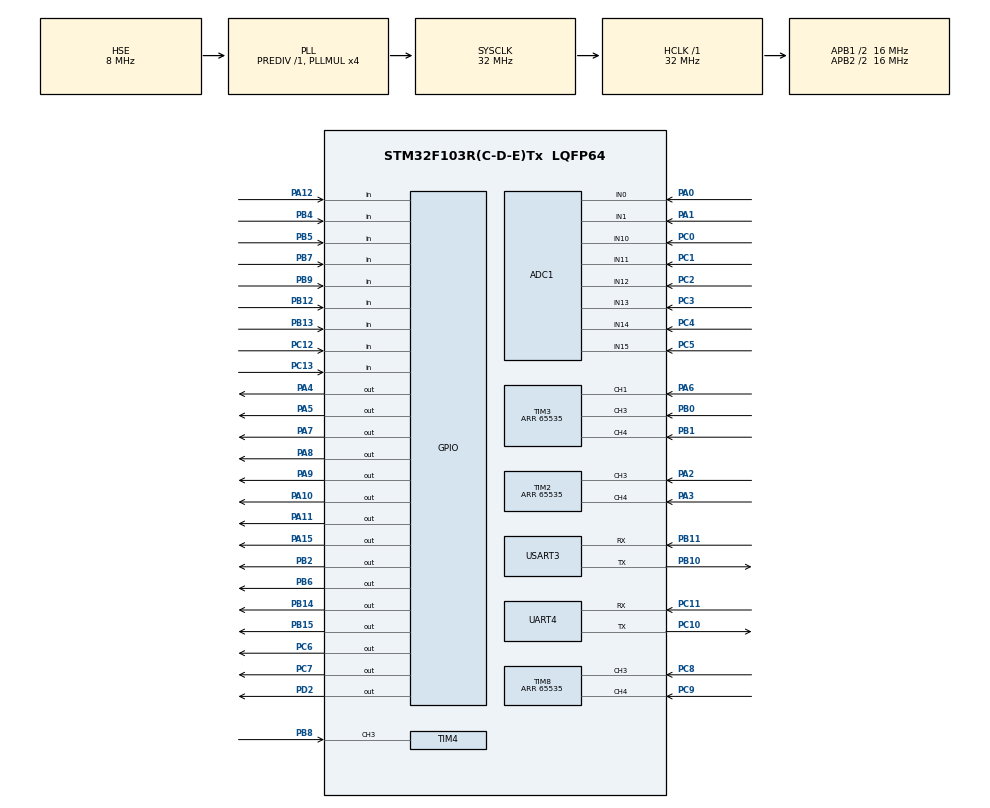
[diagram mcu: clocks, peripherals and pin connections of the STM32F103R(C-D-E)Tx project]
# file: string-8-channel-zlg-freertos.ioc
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ADC1.Channel-19\#ChannelRegularConversion=ADC_CHANNEL_10
ADC1.Channel-20\#ChannelRegularConversion=ADC_CHANNEL_11
ADC1.Channel-21\#ChannelRegularConversion=ADC_CHANNEL_12
ADC1.Channel-22\#ChannelRegularConversion=ADC_CHANNEL_13
ADC1.Channel-23\#ChannelRegularConversion=ADC_CHANNEL_0
ADC1.Channel-24\#ChannelRegularConversion=ADC_CHANNEL_1
ADC1.Channel-25\#ChannelRegularConversion=ADC_CHANNEL_14
ADC1.Channel-26\#ChannelRegularConversion=ADC_CHANNEL_15
ADC1.Channel-IN1=ADC_CHANNEL_1
ADC1.Channel-IN10=ADC_CHANNEL_10
ADC1.Channel-IN11=ADC_CHANNEL_11
ADC1.Channel-IN12=ADC_CHANNEL_12
ADC1.Channel-IN13=ADC_CHANNEL_13
ADC1.ContinuousConvMode=DISABLE
ADC1.DataAlign=ADC_DATAALIGN_RIGHT
ADC1.DiscontinuousConvMode=ENABLE
ADC1.EnableAnalogWatchDog=false
ADC1.EnableRegularConversion=ENABLE
ADC1.ExternalTrigConv=ADC_SOFTWARE_START
ADC1.InjNumberOfConversion=0
ADC1.NbrOfConversion=8
ADC1.NbrOfConversionFlag=1
ADC1.NbrOfDiscConversion=1
ADC1.Rank-19\#ChannelRegularConversion=1
ADC1.Rank-20\#ChannelRegularConversion=2
ADC1.Rank-21\#ChannelRegularConversion=3
ADC1.Rank-22\#ChannelRegularConversion=4
ADC1.Rank-23\#ChannelRegularConversion=5
ADC1.Rank-24\#ChannelRegularConversion=6
ADC1.Rank-25\#ChannelRegularConversion=7
ADC1.Rank-26\#ChannelRegularConversion=8
ADC1.SamplingTime-19\#ChannelRegularConversion=ADC_SAMPLETIME_1CYCLE_5
ADC1.SamplingTime-20\#ChannelRegularConversion=ADC_SAMPLETIME_1CYCLE_5
ADC1.SamplingTime-21\#ChannelRegularConversion=ADC_SAMPLETIME_1CYCLE_5
ADC1.SamplingTime-22\#ChannelRegularConversion=ADC_SAMPLETIME_1CYCLE_5
ADC1.SamplingTime-23\#ChannelRegularConversion=ADC_SAMPLETIME_1CYCLE_5
ADC1.SamplingTime-24\#ChannelRegularConversion=ADC_SAMPLETIME_1CYCLE_5
ADC1.SamplingTime-25\#ChannelRegularConversion=ADC_SAMPLETIME_1CYCLE_5
ADC1.SamplingTime-26\#ChannelRegularConversion=ADC_SAMPLETIME_1CYCLE_5
ADC1.ScanConvMode=ADC_SCAN_ENABLE
ADC1.master=1
Dma.Request0=TIM8_CH3/UP
Dma.Request1=TIM8_CH4/TRIG/COM
Dma.Request2=TIM4_CH3
Dma.Request3=TIM3_CH1/TRIG
Dma.Request4=TIM3_CH3
Dma.Request5=TIM3_CH4/UP
Dma.Request6=TIM2_CH3
Dma.Request7=TIM2_CH2/CH4
Dma.TIM2_CH2/CH4.7.Direction=DMA_PERIPH_TO_MEMORY
Dma.TIM2_CH2/CH4.7.Instance=DMA1_Channel7
Dma.TIM2_CH2/CH4.7.MemDataAlignment=DMA_MDATAALIGN_HALFWORD
Dma.TIM2_CH2/CH4.7.MemInc=DMA_MINC_ENABLE
Dma.TIM2_CH2/CH4.7.Mode=DMA_NORMAL
Dma.TIM2_CH2/CH4.7.PeriphDataAlignment=DMA_PDATAALIGN_HALFWORD
Dma.TIM2_CH2/CH4.7.PeriphInc=DMA_PINC_DISABLE
Dma.TIM2_CH2/CH4.7.Priority=DMA_PRIORITY_LOW
Dma.TIM2_CH3.6.Direction=DMA_PERIPH_TO_MEMORY
Dma.TIM2_CH3.6.Instance=DMA1_Channel1
Dma.TIM2_CH3.6.MemDataAlignment=DMA_MDATAALIGN_HALFWORD
Dma.TIM2_CH3.6.MemInc=DMA_MINC_ENABLE
Dma.TIM2_CH3.6.Mode=DMA_NORMAL
Dma.TIM2_CH3.6.PeriphDataAlignment=DMA_PDATAALIGN_HALFWORD
Dma.TIM2_CH3.6.PeriphInc=DMA_PINC_DISABLE
Dma.TIM2_CH3.6.Priority=DMA_PRIORITY_LOW
Dma.TIM3_CH1/TRIG.3.Direction=DMA_PERIPH_TO_MEMORY
Dma.TIM3_CH1/TRIG.3.Instance=DMA1_Channel6
Dma.TIM3_CH1/TRIG.3.MemDataAlignment=DMA_MDATAALIGN_HALFWORD
Dma.TIM3_CH1/TRIG.3.MemInc=DMA_MINC_ENABLE
Dma.TIM3_CH1/TRIG.3.Mode=DMA_NORMAL
Dma.TIM3_CH1/TRIG.3.PeriphDataAlignment=DMA_PDATAALIGN_HALFWORD
Dma.TIM3_CH1/TRIG.3.PeriphInc=DMA_PINC_DISABLE
Dma.TIM3_CH1/TRIG.3.Priority=DMA_PRIORITY_LOW
Dma.TIM3_CH3.4.Direction=DMA_PERIPH_TO_MEMORY
Dma.TIM3_CH3.4.Instance=DMA1_Channel2
Dma.TIM3_CH3.4.MemDataAlignment=DMA_MDATAALIGN_HALFWORD
Dma.TIM3_CH3.4.MemInc=DMA_MINC_ENABLE
Dma.TIM3_CH3.4.Mode=DMA_NORMAL
Dma.TIM3_CH3.4.PeriphDataAlignment=DMA_PDATAALIGN_HALFWORD
Dma.TIM3_CH3.4.PeriphInc=DMA_PINC_DISABLE
Dma.TIM3_CH3.4.Priority=DMA_PRIORITY_LOW
Dma.TIM3_CH4/UP.5.Direction=DMA_PERIPH_TO_MEMORY
Dma.TIM3_CH4/UP.5.Instance=DMA1_Channel3
Dma.TIM3_CH4/UP.5.MemDataAlignment=DMA_MDATAALIGN_HALFWORD
Dma.TIM3_CH4/UP.5.MemInc=DMA_MINC_ENABLE
Dma.TIM3_CH4/UP.5.Mode=DMA_NORMAL
Dma.TIM3_CH4/UP.5.PeriphDataAlignment=DMA_PDATAALIGN_HALFWORD
Dma.TIM3_CH4/UP.5.PeriphInc=DMA_PINC_DISABLE
Dma.TIM3_CH4/UP.5.Priority=DMA_PRIORITY_LOW
Dma.TIM4_CH3.2.Direction=DMA_PERIPH_TO_MEMORY
Dma.TIM4_CH3.2.Instance=DMA1_Channel5
Dma.TIM4_CH3.2.MemDataAlignment=DMA_MDATAALIGN_HALFWORD
Dma.TIM4_CH3.2.MemInc=DMA_MINC_ENABLE
Dma.TIM4_CH3.2.Mode=DMA_NORMAL
Dma.TIM4_CH3.2.PeriphDataAlignment=DMA_PDATAALIGN_HALFWORD
Dma.TIM4_CH3.2.PeriphInc=DMA_PINC_DISABLE
Dma.TIM4_CH3.2.Priority=DMA_PRIORITY_LOW
Dma.TIM8_CH3/UP.0.Direction=DMA_PERIPH_TO_MEMORY
Dma.TIM8_CH3/UP.0.Instance=DMA2_Channel1
Dma.TIM8_CH3/UP.0.MemDataAlignment=DMA_MDATAALIGN_HALFWORD
Dma.TIM8_CH3/UP.0.MemInc=DMA_MINC_ENABLE
Dma.TIM8_CH3/UP.0.Mode=DMA_NORMAL
Dma.TIM8_CH3/UP.0.PeriphDataAlignment=DMA_PDATAALIGN_HALFWORD
Dma.TIM8_CH3/UP.0.PeriphInc=DMA_PINC_DISABLE
Dma.TIM8_CH3/UP.0.Priority=DMA_PRIORITY_LOW
Dma.TIM8_CH4/TRIG/COM.1.Direction=DMA_PERIPH_TO_MEMORY
Dma.TIM8_CH4/TRIG/COM.1.Instance=DMA2_Channel2
Dma.TIM8_CH4/TRIG/COM.1.MemDataAlignment=DMA_MDATAALIGN_HALFWORD
Dma.TIM8_CH4/TRIG/COM.1.MemInc=DMA_MINC_ENABLE
Dma.TIM8_CH4/TRIG/COM.1.Mode=DMA_NORMAL
Dma.TIM8_CH4/TRIG/COM.1.PeriphDataAlignment=DMA_PDATAALIGN_HALFWORD
Dma.TIM8_CH4/TRIG/COM.1.PeriphInc=DMA_PINC_DISABLE
Dma.TIM8_CH4/TRIG/COM.1.Priority=DMA_PRIORITY_LOW
FREERTOS.BinarySemaphores01=BinarySem_capture,Dynamic,NULL;BinarySem_zlg,Dynamic,NULL;BinarySem_485,Dynamic,NULL;BinarySem_bat,Dynamic,NULL;BinarySem_stimulate,Dynamic,NULL
FREERTOS.Tasks01=TASK_BAT,0,128,FUNC_BAT,Default,NULL,Dynamic,NULL,NULL;TASK_ZLG,2,128,FUNC_ZLG,Default,NULL,Dynamic,NULL,NULL;TASK_CAPTURE,-2,128,FUNC_CAPTURE,Default,NULL,Dynamic,NULL,NULL;TASK_485,2,128,FUNC_485,Default,NULL,Dynamic,NULL,NULL;TASK_STIMULATE,1,128,FUNC_STIMULATE,Default,NULL,Dynamic,NULL,NULL
FREERTOS.Timers01=TimerCapture,Callback_timercapture,osTimerPeriodic,Default,NULL,Dynamic,NULL
FREERTOS.configMINIMAL_STACK_SIZE=64
FREERTOS.configTOTAL_HEAP_SIZE=8096
FREERTOS.configUSE_COUNTING_SEMAPHORES=1
FREERTOS.configUSE_TIMERS=1
Mcu.Family=STM32F1
Mcu.Name=STM32F103R(C-D-E)Tx
Mcu.Package=LQFP64
NVIC.DMA1_Channel1_IRQn=true\:4\:0\:true\:false\:true\:false
NVIC.DMA1_Channel2_IRQn=true\:4\:0\:true\:false\:true\:false
NVIC.DMA1_Channel3_IRQn=true\:4\:0\:true\:false\:true\:false
NVIC.DMA1_Channel5_IRQn=true\:4\:0\:true\:false\:true\:false
NVIC.DMA1_Channel6_IRQn=true\:4\:0\:true\:false\:true\:false
NVIC.DMA1_Channel7_IRQn=true\:4\:0\:true\:false\:true\:false
NVIC.DMA2_Channel1_IRQn=true\:4\:0\:true\:false\:true\:false
NVIC.DMA2_Channel2_IRQn=true\:4\:0\:true\:false\:true\:false
NVIC.PriorityGroup=NVIC_PRIORITYGROUP_4
NVIC.TIM5_IRQn=true\:0\:0\:false\:false\:true\:false
NVIC.TimeBase=TIM5_IRQn
NVIC.TimeBaseIP=TIM5
NVIC.UART4_IRQn=true\:5\:0\:false\:false\:true\:true
NVIC.USART3_IRQn=true\:5\:0\:false\:false\:true\:true
PA0-WKUP.Signal=ADCx_IN0
PA1.Signal=ADCx_IN1
PA10.PinState=GPIO_PIN_SET
PA10.Signal=GPIO_Output
PA11.Signal=GPIO_Output
PA12.Signal=GPIO_Input
PA13.Mode=Serial_Wire
PA13.Signal=SYS_JTMS-SWDIO
PA14.Mode=Serial_Wire
PA14.Signal=SYS_JTCK-SWCLK
PA15.Signal=GPIO_Output
PA2.Signal=S_TIM2_CH3
PA3.Signal=S_TIM2_CH4
PA4.Signal=GPIO_Output
PA5.PinState=GPIO_PIN_SET
PA5.Signal=GPIO_Output
PA6.Signal=S_TIM3_CH1
PA7.Signal=GPIO_Output
PA8.Signal=GPIO_Output
PA9.PinState=GPIO_PIN_SET
PA9.Signal=GPIO_Output
PB0.Signal=S_TIM3_CH3
PB1.Signal=S_TIM3_CH4
PB10.Mode=Asynchronous
PB10.Signal=USART3_TX
PB11.Mode=Asynchronous
PB11.Signal=USART3_RX
PB12.Signal=GPIO_Input
PB13.Signal=GPIO_Input
PB14.Signal=GPIO_Output
PB15.Signal=GPIO_Output
PB2.PinState=GPIO_PIN_SET
PB2.Signal=GPIO_Output
PB4.Signal=GPIO_Input
PB5.Signal=GPIO_Input
PB6.Signal=GPIO_Output
PB7.Signal=GPIO_Input
PB8.Signal=S_TIM4_CH3
PB9.Signal=GPIO_Input
PC0.Signal=ADCx_IN10
PC1.Signal=ADCx_IN11
PC10.Mode=Asynchronous
PC10.Signal=UART4_TX
PC11.Mode=Asynchronous
PC11.Signal=UART4_RX
PC12.Signal=GPIO_Input
PC13-TAMPER-RTC.Signal=GPIO_Input
PC14-OSC32_IN.Mode=LSE-External-Oscillator
PC14-OSC32_IN.Signal=RCC_OSC32_IN
PC15-OSC32_OUT.Mode=LSE-External-Oscillator
PC15-OSC32_OUT.Signal=RCC_OSC32_OUT
PC2.Signal=ADCx_IN12
PC3.Signal=ADCx_IN13
PC4.Signal=ADCx_IN14
PC5.Signal=ADCx_IN15
PC6.Signal=GPIO_Output
PC7.Signal=GPIO_Output
PC8.Signal=S_TIM8_CH3
PC9.Signal=S_TIM8_CH4
PD0-OSC_IN.Mode=HSE-External-Oscillator
PD0-OSC_IN.Signal=RCC_OSC_IN
PD1-OSC_OUT.Mode=HSE-External-Oscillator
PD1-OSC_OUT.Signal=RCC_OSC_OUT
PD2.Signal=GPIO_Output
ProjectManager.HeapSize=0x200
ProjectManager.StackSize=0x400
ProjectManager.TargetToolchain=MDK-ARM V5
RCC.AHBFreq_Value=32000000
RCC.APB1CLKDivider=RCC_HCLK_DIV2
RCC.APB1Freq_Value=16000000
RCC.APB1TimFreq_Value=32000000
RCC.APB2CLKDivider=RCC_HCLK_DIV2
RCC.APB2Freq_Value=16000000
RCC.APB2TimFreq_Value=32000000
RCC.HCLKFreq_Value=32000000
RCC.PLLMUL=RCC_PLL_MUL4
RCC.PLLSourceVirtual=RCC_PLLSOURCE_HSE
RCC.SYSCLKFreq_VALUE=32000000
RCC.SYSCLKSource=RCC_SYSCLKSOURCE_PLLCLK
RCC.USBFreq_Value=32000000
SH.ADCx_IN0.0=ADC1_IN0,IN0
SH.ADCx_IN1.0=ADC1_IN1,IN1
SH.ADCx_IN10.0=ADC1_IN10,IN10
SH.ADCx_IN11.0=ADC1_IN11,IN11
SH.ADCx_IN12.0=ADC1_IN12,IN12
SH.ADCx_IN13.0=ADC1_IN13,IN13
SH.ADCx_IN14.0=ADC1_IN14,IN14
SH.ADCx_IN15.0=ADC1_IN15,IN15
SH.S_TIM2_CH3.0=TIM2_CH3,Input_Capture3_from_TI3
SH.S_TIM2_CH4.0=TIM2_CH4,Input_Capture4_from_TI4
SH.S_TIM3_CH1.0=TIM3_CH1,Input_Capture1_from_TI1
SH.S_TIM3_CH3.0=TIM3_CH3,Input_Capture3_from_TI3
SH.S_TIM3_CH4.0=TIM3_CH4,Input_Capture4_from_TI4
SH.S_TIM4_CH3.0=TIM4_CH3,Input_Capture3_from_TI3
SH.S_TIM8_CH3.0=TIM8_CH3,Input_Capture3_from_TI3
SH.S_TIM8_CH4.0=TIM8_CH4,Input_Capture4_from_TI4
TIM2.Channel-Input_Capture3_from_TI3=TIM_CHANNEL_3
TIM2.Channel-Input_Capture4_from_TI4=TIM_CHANNEL_4
TIM2.Period=65535
TIM3.Channel-Input_Capture1_from_TI1=TIM_CHANNEL_1
TIM3.Channel-Input_Capture3_from_TI3=TIM_CHANNEL_3
TIM3.Channel-Input_Capture4_from_TI4=TIM_CHANNEL_4
TIM3.Period=65535
TIM4.Channel-Input_Capture3_from_TI3=TIM_CHANNEL_3
TIM4.Period=65535
TIM8.Channel-Input_Capture3_from_TI3=TIM_CHANNEL_3
TIM8.Channel-Input_Capture4_from_TI4=TIM_CHANNEL_4
TIM8.Period=65535
UART4.VirtualMode=Asynchronous
USART3.VirtualMode=VM_ASYNC
VP_FREERTOS_VS_ENABLE.Mode=Enabled
VP_SYS_VS_tim5.Mode=TIM5
board=string-8-channel-zlg-freertos

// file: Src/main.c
/**
  ******************************************************************************
  * File Name          : main.c
  * Description        : Main program body
  ******************************************************************************
  * This notice applies to any and all portions of this file
  * that are not between comment pairs USER CODE BEGIN and
  * USER CODE END. Other portions of this file, whether
  * inserted by the user or by software development tools
  * are owned by their respective copyright owners.
  *
  * Copyright (c) 2018 STMicroelectronics International N.V.
  * All rights reserved.
  *
  * Redistribution and use in source and binary forms, with or without
  * modification, are permitted, provided that the following conditions are met:
  *
  * 1. Redistribution of source code must retain the above copyright notice,
  *    this list of conditions and the following disclaimer.
  * 2. Redistributions in binary form must reproduce the above copyright notice,
  *    this list of conditions and the following disclaimer in the documentation
  *    and/or other materials provided with the distribution.
  * 3. Neither the name of STMicroelectronics nor the names of other
  *    contributors to this software may be used to endorse or promote products
  *    derived from this software without specific written permission.
  * 4. This software, including modifications and/or derivative works of this
  *    software, must execute solely and exclusively on microcontroller or
  *    microprocessor devices manufactured by or for STMicroelectronics.
  * 5. Redistribution and use of this software other than as permitted under
  *    this license is void and will automatically terminate your rights under
  *    this license.
  *
  * THIS SOFTWARE IS PROVIDED BY STMICROELECTRONICS AND CONTRIBUTORS "AS IS"
  * AND ANY EXPRESS, IMPLIED OR STATUTORY WARRANTIES, INCLUDING, BUT NOT
  * LIMITED TO, THE IMPLIED WARRANTIES OF MERCHANTABILITY, FITNESS FOR A
  * PARTICULAR PURPOSE AND NON-INFRINGEMENT OF THIRD PARTY INTELLECTUAL PROPERTY
  * RIGHTS ARE DISCLAIMED TO THE FULLEST EXTENT PERMITTED BY LAW. IN NO EVENT
  * SHALL STMICROELECTRONICS OR CONTRIBUTORS BE LIABLE FOR ANY DIRECT, INDIRECT,
  * INCIDENTAL, SPECIAL, EXEMPLARY, OR CONSEQUENTIAL DAMAGES (INCLUDING, BUT NOT
  * LIMITED TO, PROCUREMENT OF SUBSTITUTE GOODS OR SERVICES; LOSS OF USE, DATA,
  * OR PROFITS; OR BUSINESS INTERRUPTION) HOWEVER CAUSED AND ON ANY THEORY OF
  * LIABILITY, WHETHER IN CONTRACT, STRICT LIABILITY, OR TORT (INCLUDING
  * NEGLIGENCE OR OTHERWISE) ARISING IN ANY WAY OUT OF THE USE OF THIS SOFTWARE,
  * EVEN IF ADVISED OF THE POSSIBILITY OF SUCH DAMAGE.
  *
  ******************************************************************************
  */
#include "main.h"
#include "stm32f1xx_hal.h"
#include "cmsis_os.h"

/* USER CODE BEGIN Includes */
#include <math.h>
#include <string.h>
#include "CW201x.h"
/* USER CODE END Includes */

ADC_HandleTypeDef hadc1;

TIM_HandleTypeDef htim2;
TIM_HandleTypeDef htim3;
TIM_HandleTypeDef htim4;
TIM_HandleTypeDef htim8;
DMA_HandleTypeDef hdma_tim2_ch3;
DMA_HandleTypeDef hdma_tim2_ch2_ch4;
DMA_HandleTypeDef hdma_tim3_ch1_trig;
DMA_HandleTypeDef hdma_tim3_ch3;
DMA_HandleTypeDef hdma_tim3_ch4_up;
DMA_HandleTypeDef hdma_tim4_ch3;
DMA_HandleTypeDef hdma_tim8_ch3_up;
DMA_HandleTypeDef hdma_tim8_ch4_trig_com;

UART_HandleTypeDef huart4;
UART_HandleTypeDef huart3;

osThreadId TASK_BATHandle;
osThreadId TASK_ZLGHandle;
osThreadId TASK_CAPTUREHandle;
osThreadId TASK_485Handle;
osThreadId TASK_STIMULATEHandle;
osTimerId TimerCaptureHandle;
osSemaphoreId BinarySem_captureHandle;
osSemaphoreId BinarySem_zlgHandle;
osSemaphoreId BinarySem_485Handle;
osSemaphoreId BinarySem_batHandle;
osSemaphoreId BinarySem_stimulateHandle;

/* USER CODE BEGIN PV */
/* Private variables ---------------------------------------------------------*/
#define TIMER_INTERVAL 200
#define FLASH_START_ADDR  0X08070000
/*********************** BATTERY *************************/
extern STRUCT_CW_BATTERY   cw_bat;
int bat_count = 0;
int bat_interval = 20;

#define GPIO_BAT                      GPIOA
#define GPIO_PIN_BAT1                 GPIO_PIN_10
#define GPIO_PIN_BAT2                 GPIO_PIN_9

/****************** CAPRURE FREQUENCY ********************/
#define GPIO_SWITCH                   GPIOA
#define GPIO_PIN_SWITCH               GPIO_PIN_4

uint16_t input_capture[8][50];
float avrg_freq[8];
int dma_size = 17;
int capture_count = 0;
int capture_interval = 3;

GPIO_TypeDef* STRING_GPIO[8] = {
	GPIOC,
	GPIOC,
	GPIOA,
	GPIOA,
  GPIOA,
  GPIOA,
	GPIOB,
	GPIOB};

uint16_t STRING_PIN[8] = {
	GPIO_PIN_6,
  GPIO_PIN_7,
	GPIO_PIN_15,
	GPIO_PIN_7,
	GPIO_PIN_8,
	GPIO_PIN_11,
	GPIO_PIN_14,
	GPIO_PIN_15};

uint32_t TIM_CHANNEL[8] = {
	TIM_CHANNEL_3,
	TIM_CHANNEL_4,
	TIM_CHANNEL_3,
	TIM_CHANNEL_4,
	TIM_CHANNEL_3,
	TIM_CHANNEL_1,
	TIM_CHANNEL_4,
  TIM_CHANNEL_3};

TIM_HandleTypeDef *htim[8];

/************************* ADC ***************************/

float adcbuf[8] = {0};
float	A = 0.0014051f;
float B = 0.0002369f;
float C = 0.0000001019f;

/************************* ADDR ***************************/

uint8_t board_num1;
uint8_t board_num2;

GPIO_TypeDef* ADDR_GPIO[8] = {
	GPIOB,
	GPIOB,
  GPIOB,
  GPIOB,
	GPIOB,
	GPIOC,
	GPIOA,
	GPIOC};

uint16_t ADDR_PIN[8] = {
	GPIO_PIN_4,
  GPIO_PIN_5,
	GPIO_PIN_13,
	GPIO_PIN_12,
	GPIO_PIN_9,
	GPIO_PIN_13,
	GPIO_PIN_12,
  GPIO_PIN_12};

/********************** ANALYSIS **************************/

uint8_t data_buf[46] = {
	'S',
	0,0,//ID high, ID low
	0,0,0,0,0, //CH1 freq high, freq low, temp high, temp low
	1,0,0,0,0, //CH2
	2,0,0,0,0, //CH3
	3,0,0,0,0, //CH4
	4,0,0,0,0, //CH5
	5,0,0,0,0, //CH6
	6,0,0,0,0, //CH7
	7,0,0,0,0, //CH8
	0,0,       //bat high, bat low
  'E'};

uint8_t reply_buf[46] = {
	'S',
	0,0,//ID
	0,0,0,0,
	0,0,0,0,
	0,0,0,0,
	0,0,0,0,
	0,0,0,0,
	0,0,0,0,
	0,0,0,0,
	0,0,0,0,
	0,0,0,0,
	0,0,
	0xff,
	0xff,
	0x00,
	0xff,
  'A'};

uint8_t order_buf[35];

typedef enum
{
	DEVICE_RUN,
	DEVICE_SLEEP
}Device_StateTypeDef;

Device_StateTypeDef Device_State = DEVICE_RUN;

/************************* UART ***************************/

uint8_t data_zlg;
uint8_t len_zlg;
uint8_t rxbuf_zlg[100];

uint8_t data_485;
uint8_t len_485 = 1;
uint8_t rxbuf_485[100];

/*********************** ZLG 5168 *************************/

uint8_t channel = 11;
uint8_t addr1_coord = 0x80;
uint8_t addr2_coord = 0x00;

enum{
	GET_INFO = 0,
	SET_INFO,
	RESET_ZLG,
	WAITFORCMD,
	SLEEP,
};
uint8_t ZLGSTATE = GET_INFO;

uint8_t cmd_cfg_get[5] = {0xAB,0xBC,0xCD,0xD1,0x05};
struct struct_recv
{
	uint8_t cmd[4];
	uint8_t dev_info[65];
	uint8_t status[5];
};
union union_recv
{
	uint8_t recv_buf[74];
	struct struct_recv recv_analy;
}ack_cfg_get;

struct struct_send
{
	uint8_t cmd[4];
	uint8_t local_addr[2];
	uint8_t dev_info[65];
	uint8_t veri;
};
union union_send
{
	uint8_t send_buf[72];
	struct struct_send send_set;
}cmd_cfg_set;
uint8_t ack_cfg_set[7];

uint8_t cmd_reset[9];

uint8_t cmd_sleep[5] = {0xDE, 0xDF, 0xEF, 0xD8, 0x01};

/* USER CODE END PV */

void SystemClock_Config(void);
static void MX_GPIO_Init(void);
static void MX_DMA_Init(void);
static void MX_ADC1_Init(void);
static void MX_TIM2_Init(void);
static void MX_TIM3_Init(void);
static void MX_TIM4_Init(void);
static void MX_UART4_Init(void);
static void MX_USART3_UART_Init(void);
static void MX_TIM8_Init(void);
void FUNC_BAT(void const * argument);
void FUNC_ZLG(void const * argument);
void FUNC_CAPTURE(void const * argument);
void FUNC_485(void const * argument);
void FUNC_STIMULATE(void const * argument);
void Callback_timercapture(void const * argument);

/* USER CODE BEGIN PFP */
/* Private function prototypes -----------------------------------------------*/

/* USER CODE END PFP */

/* USER CODE BEGIN 0 */
void write_flash(uint16_t dat)
{
	FLASH_EraseInitTypeDef f;
	uint32_t PageError = 0;

	HAL_FLASH_Unlock();
	f.TypeErase = FLASH_TYPEERASE_PAGES;
	f.PageAddress = FLASH_START_ADDR;
	f.NbPages = 1;
	HAL_FLASHEx_Erase(&f, &PageError);

	HAL_FLASH_Program(FLASH_TYPEPROGRAM_HALFWORD, FLASH_START_ADDR, dat);
}

uint16_t read_flash()
{
	uint16_t value;
	value = *(uint16_t*)(FLASH_START_ADDR);
	return value;
}

void set_led()
{
		if(cw_bat.voltage == 0)
		{
			HAL_GPIO_TogglePin(GPIO_BAT, GPIO_PIN_BAT1);
			HAL_GPIO_TogglePin(GPIO_BAT, GPIO_PIN_BAT2);
		}
		else
		{
			if(cw_bat.capacity >= 80)
			{
				HAL_GPIO_WritePin(GPIO_BAT, GPIO_PIN_BAT1, GPIO_PIN_RESET);
				HAL_GPIO_WritePin(GPIO_BAT, GPIO_PIN_BAT2, GPIO_PIN_RESET);
			}
			else if(cw_bat.capacity >= 60)
			{
				HAL_GPIO_WritePin(GPIO_BAT, GPIO_PIN_BAT1, GPIO_PIN_RESET);
				HAL_GPIO_TogglePin(GPIO_BAT, GPIO_PIN_BAT2);
			}
			else if(cw_bat.capacity >= 40)
			{
				HAL_GPIO_WritePin(GPIO_BAT, GPIO_PIN_BAT1, GPIO_PIN_RESET);
				HAL_GPIO_WritePin(GPIO_BAT, GPIO_PIN_BAT2, GPIO_PIN_SET);
			}
			else if(cw_bat.capacity >= 20)
			{
				HAL_GPIO_TogglePin(GPIO_BAT, GPIO_PIN_BAT1);
				HAL_GPIO_WritePin(GPIO_BAT, GPIO_PIN_BAT2, GPIO_PIN_SET);
			}
			else
			{
				HAL_GPIO_WritePin(GPIO_BAT, GPIO_PIN_BAT1, GPIO_PIN_SET);
				HAL_GPIO_WritePin(GPIO_BAT, GPIO_PIN_BAT2, GPIO_PIN_SET);
			}
		}
}

void show_485(uint8_t *buf, int len)
{
	HAL_GPIO_WritePin(GPIOD, GPIO_PIN_2, GPIO_PIN_SET); // 485 SEND ENABLE
	HAL_UART_Transmit(&huart4,buf,len,1000);
	HAL_GPIO_WritePin(GPIOD, GPIO_PIN_2, GPIO_PIN_RESET); // 485 RECV ENABLE
}

int calc_checksum(uint8_t *buf, int len)
{
	int checksum = 0;
	int i;
	for(i = 0;i < len;i ++)
		checksum += buf[i];
	return checksum;
}

void read_ID()
{
	int i;
	board_num1 = 0;
	board_num2 = 0;

	for(i = 0;i < 4;i ++)
	{
		if(HAL_GPIO_ReadPin(ADDR_GPIO[i], ADDR_PIN[i]) == GPIO_PIN_RESET)
		{
			board_num1 |= (1 << i);
		}
	}
	for(i = 0;i < 4;i ++)
	{
		if(HAL_GPIO_ReadPin(ADDR_GPIO[i + 4], ADDR_PIN[i + 4]) == GPIO_PIN_RESET)
		{
			board_num2 |= (1 << i);
		}
	}

	data_buf[1] = board_num1;
	data_buf[2] = board_num2;

	reply_buf[1] = board_num1;
	reply_buf[2] = board_num2;
}

void write_to_data_buf(int num,uint16_t Freq, uint16_t Temp)
{
	data_buf[3 + num * 5 + 1] = (uint8_t)((Freq&0xff00)>>8);
	data_buf[3 + num * 5 + 2] = (uint8_t)(Freq&0x00ff);
	data_buf[3 + num * 5 + 3] = (uint8_t)((Temp&0xff00)>>8);
	data_buf[3 + num * 5 + 4] = (uint8_t)(Temp&0x00ff);
}

void MEASUREMENT(int group)
{
	unsigned int i, j;
	unsigned int k;

	/*72Mhz
	i=
	5000---420hz
	4000---526hz
	3000---700hz
	2000---1064hz
	1000---2174hz
	800----2632hz
	700----3030hz
	*/

	/*32Mhz
	2200---495hz
	2000---543hz
	800----1389hz
	400----2778hz
	300----3571hz
	*/

	i = 2150;	//510hz
  while(i>=350) //2941hz
	{
		j = i;
		HAL_GPIO_WritePin(STRING_GPIO[group * 4], STRING_PIN[group * 4], GPIO_PIN_SET);
		HAL_GPIO_WritePin(STRING_GPIO[group * 4 + 1], STRING_PIN[group * 4 + 1], GPIO_PIN_RESET);
		HAL_GPIO_WritePin(STRING_GPIO[group * 4 + 2], STRING_PIN[group * 4 + 2], GPIO_PIN_SET);
		HAL_GPIO_WritePin(STRING_GPIO[group * 4 + 3], STRING_PIN[group * 4 + 3], GPIO_PIN_RESET);
		while(j)
		{
				__nop();__nop();__nop();__nop();__nop();__nop();__nop();__nop();__nop();__nop();
				j = j - 1;
		}

		j = i;
		HAL_GPIO_WritePin(STRING_GPIO[group * 4], STRING_PIN[group * 4], GPIO_PIN_RESET);
		HAL_GPIO_WritePin(STRING_GPIO[group * 4 + 1], STRING_PIN[group * 4 + 1], GPIO_PIN_SET);
		HAL_GPIO_WritePin(STRING_GPIO[group * 4 + 2], STRING_PIN[group * 4 + 2], GPIO_PIN_RESET);
		HAL_GPIO_WritePin(STRING_GPIO[group * 4 + 3], STRING_PIN[group * 4 + 3], GPIO_PIN_SET);
		while(j)
		{
			 __nop();__nop();__nop();__nop();__nop();__nop();__nop();__nop();__nop();__nop();
			 j = j - 1;
		}
		//k = k - 1;
		i = i - 3;
	}
	HAL_GPIO_WritePin(STRING_GPIO[group * 4 + 1], STRING_PIN[group * 4 + 1], GPIO_PIN_RESET);
	HAL_GPIO_WritePin(STRING_GPIO[group * 4 + 3], STRING_PIN[group * 4 + 3], GPIO_PIN_RESET);
  HAL_Delay(20);
}

void get_temperature()
{
	int i;
	for(i = 0;i < 8;i ++)
	{
		HAL_ADC_Start(&hadc1);
		HAL_ADC_PollForConversion(&hadc1,1000);
		adcbuf[i]=HAL_ADC_GetValue(&hadc1);
	}
	HAL_ADC_Stop(&hadc1);
}
/* USER CODE END 0 */

int main(void)
{

  /* USER CODE BEGIN 1 */
	int ret;
  /* USER CODE END 1 */

  /* MCU Configuration----------------------------------------------------------*/

  /* Reset of all peripherals, Initializes the Flash interface and the Systick. */
  HAL_Init();

  /* USER CODE BEGIN Init */
	htim[0] = &htim2;
	htim[1] = &htim2;
	htim[2] = &htim3;
	htim[3] = &htim3;
	htim[4] = &htim4;
	htim[5] = &htim3;
	htim[6] = &htim8;
	htim[7] = &htim8;

	cmd_cfg_set.send_set.cmd[0] = 0xAB;
  cmd_cfg_set.send_set.cmd[1] = 0xBC;
  cmd_cfg_set.send_set.cmd[2] = 0xCD;
  cmd_cfg_set.send_set.cmd[3] = 0xD6;

	cmd_reset[0] = 0xAB;
	cmd_reset[1] = 0xBC;
	cmd_reset[2] = 0xCD;
	cmd_reset[3] = 0xD9;

	capture_interval = capture_interval * 1000 / TIMER_INTERVAL;
	bat_interval = bat_interval * 1000 / TIMER_INTERVAL;

  /* USER CODE END Init */

  /* Configure the system clock */
  SystemClock_Config();

  /* Initialize all configured peripherals */
  MX_GPIO_Init();
  MX_DMA_Init();
  MX_ADC1_Init();
  MX_TIM2_Init();
  MX_TIM3_Init();
  MX_TIM4_Init();
  MX_UART4_Init();
  MX_USART3_UART_Init();
  MX_TIM8_Init();

  /* USER CODE BEGIN 2 */
	HAL_GPIO_WritePin(GPIO_SWITCH, GPIO_PIN_SWITCH, GPIO_PIN_SET);
  ret = cw_bat_init();
	read_ID();
	cw_bat_work();
	set_led();

	if(read_flash() != 'Z')
		Device_State = DEVICE_RUN;
	else Device_State = DEVICE_SLEEP;

	HAL_Delay(200);
  /* USER CODE END 2 */

  /* Create the semaphores(s) */
  /* definition and creation of BinarySem_capture */
  osSemaphoreDef(BinarySem_capture);
  BinarySem_captureHandle = osSemaphoreCreate(osSemaphore(BinarySem_capture), 1);

  /* definition and creation of BinarySem_zlg */
  osSemaphoreDef(BinarySem_zlg);
  BinarySem_zlgHandle = osSemaphoreCreate(osSemaphore(BinarySem_zlg), 1);

  /* definition and creation of BinarySem_485 */
  osSemaphoreDef(BinarySem_485);
  BinarySem_485Handle = osSemaphoreCreate(osSemaphore(BinarySem_485), 1);

  /* definition and creation of BinarySem_bat */
  osSemaphoreDef(BinarySem_bat);
  BinarySem_batHandle = osSemaphoreCreate(osSemaphore(BinarySem_bat), 1);

  /* definition and creation of BinarySem_stimulate */
  osSemaphoreDef(BinarySem_stimulate);
  BinarySem_stimulateHandle = osSemaphoreCreate(osSemaphore(BinarySem_stimulate), 1);

  /* USER CODE BEGIN RTOS_SEMAPHORES */
  /* add semaphores, ... */
	xSemaphoreTake(BinarySem_captureHandle,portMAX_DELAY);
	xSemaphoreTake(BinarySem_zlgHandle,portMAX_DELAY);
	xSemaphoreTake(BinarySem_485Handle,portMAX_DELAY);
	xSemaphoreTake(BinarySem_stimulateHandle,portMAX_DELAY);

  /* USER CODE END RTOS_SEMAPHORES */

  /* Create the timer(s) */
  /* definition and creation of TimerCapture */
  osTimerDef(TimerCapture, Callback_timercapture);
  TimerCaptureHandle = osTimerCreate(osTimer(TimerCapture), osTimerPeriodic, NULL);

  /* USER CODE BEGIN RTOS_TIMERS */
  /* start timers, add new ones, ... */
	osTimerStart(TimerCaptureHandle,TIMER_INTERVAL);
  /* USER CODE END RTOS_TIMERS */

  /* Create the thread(s) */
  /* definition and creation of TASK_BAT */
  osThreadDef(TASK_BAT, FUNC_BAT, osPriorityNormal, 0, 128);
  TASK_BATHandle = osThreadCreate(osThread(TASK_BAT), NULL);

  /* definition and creation of TASK_ZLG */
  osThreadDef(TASK_ZLG, FUNC_ZLG, osPriorityHigh, 0, 128);
  TASK_ZLGHandle = osThreadCreate(osThread(TASK_ZLG), NULL);

  /* definition and creation of TASK_CAPTURE */
  osThreadDef(TASK_CAPTURE, FUNC_CAPTURE, osPriorityLow, 0, 128);
  TASK_CAPTUREHandle = osThreadCreate(osThread(TASK_CAPTURE), NULL);

  /* definition and creation of TASK_485 */
  osThreadDef(TASK_485, FUNC_485, osPriorityHigh, 0, 128);
  TASK_485Handle = osThreadCreate(osThread(TASK_485), NULL);

  /* definition and creation of TASK_STIMULATE */
  osThreadDef(TASK_STIMULATE, FUNC_STIMULATE, osPriorityAboveNormal, 0, 128);
  TASK_STIMULATEHandle = osThreadCreate(osThread(TASK_STIMULATE), NULL);

  /* Start scheduler */
  osKernelStart();

  /* We should never get here as control is now taken by the scheduler */

  /* Infinite loop */
  while (1)
  {

  }

}

/** System Clock Configuration
*/
void SystemClock_Config(void)
{

  RCC_OscInitTypeDef RCC_OscInitStruct;
  RCC_ClkInitTypeDef RCC_ClkInitStruct;
  RCC_PeriphCLKInitTypeDef PeriphClkInit;

    /**Initializes the CPU, AHB and APB busses clocks
    */
  RCC_OscInitStruct.OscillatorType = RCC_OSCILLATORTYPE_HSE;
  RCC_OscInitStruct.HSEState = RCC_HSE_ON;
  RCC_OscInitStruct.HSEPredivValue = RCC_HSE_PREDIV_DIV1;
  RCC_OscInitStruct.HSIState = RCC_HSI_ON;
  RCC_OscInitStruct.PLL.PLLState = RCC_PLL_ON;
  RCC_OscInitStruct.PLL.PLLSource = RCC_PLLSOURCE_HSE;
  RCC_OscInitStruct.PLL.PLLMUL = RCC_PLL_MUL4;
  if (HAL_RCC_OscConfig(&RCC_OscInitStruct) != HAL_OK)
  {
    _Error_Handler(__FILE__, __LINE__);
  }

    /**Initializes the CPU, AHB and APB busses clocks
    */
  RCC_ClkInitStruct.ClockType = RCC_CLOCKTYPE_HCLK|RCC_CLOCKTYPE_SYSCLK
                              |RCC_CLOCKTYPE_PCLK1|RCC_CLOCKTYPE_PCLK2;
  RCC_ClkInitStruct.SYSCLKSource = RCC_SYSCLKSOURCE_PLLCLK;
  RCC_ClkInitStruct.AHBCLKDivider = RCC_SYSCLK_DIV1;
  RCC_ClkInitStruct.APB1CLKDivider = RCC_HCLK_DIV2;
  RCC_ClkInitStruct.APB2CLKDivider = RCC_HCLK_DIV2;

  if (HAL_RCC_ClockConfig(&RCC_ClkInitStruct, FLASH_LATENCY_1) != HAL_OK)
  {
    _Error_Handler(__FILE__, __LINE__);
  }

  PeriphClkInit.PeriphClockSelection = RCC_PERIPHCLK_ADC;
  PeriphClkInit.AdcClockSelection = RCC_ADCPCLK2_DIV2;
  if (HAL_RCCEx_PeriphCLKConfig(&PeriphClkInit) != HAL_OK)
  {
    _Error_Handler(__FILE__, __LINE__);
  }

    /**Configure the Systick interrupt time
    */
  HAL_SYSTICK_Config(HAL_RCC_GetHCLKFreq()/1000);

    /**Configure the Systick
    */
  HAL_SYSTICK_CLKSourceConfig(SYSTICK_CLKSOURCE_HCLK);

  /* SysTick_IRQn interrupt configuration */
  HAL_NVIC_SetPriority(SysTick_IRQn, 15, 0);
}

/* ADC1 init function */
static void MX_ADC1_Init(void)
{

  ADC_ChannelConfTypeDef sConfig;

    /**Common config
    */
  hadc1.Instance = ADC1;
  hadc1.Init.ScanConvMode = ADC_SCAN_ENABLE;
  hadc1.Init.ContinuousConvMode = DISABLE;
  hadc1.Init.DiscontinuousConvMode = ENABLE;
  hadc1.Init.NbrOfDiscConversion = 1;
  hadc1.Init.ExternalTrigConv = ADC_SOFTWARE_START;
  hadc1.Init.DataAlign = ADC_DATAALIGN_RIGHT;
  hadc1.Init.NbrOfConversion = 8;
  if (HAL_ADC_Init(&hadc1) != HAL_OK)
  {
    _Error_Handler(__FILE__, __LINE__);
  }

    /**Configure Regular Channel
    */
  sConfig.Channel = ADC_CHANNEL_10;
  sConfig.Rank = 1;
  sConfig.SamplingTime = ADC_SAMPLETIME_1CYCLE_5;
  if (HAL_ADC_ConfigChannel(&hadc1, &sConfig) != HAL_OK)
  {
    _Error_Handler(__FILE__, __LINE__);
  }

    /**Configure Regular Channel
    */
  sConfig.Channel = ADC_CHANNEL_11;
  sConfig.Rank = 2;
  if (HAL_ADC_ConfigChannel(&hadc1, &sConfig) != HAL_OK)
  {
    _Error_Handler(__FILE__, __LINE__);
  }

    /**Configure Regular Channel
    */
  sConfig.Channel = ADC_CHANNEL_12;
  sConfig.Rank = 3;
  if (HAL_ADC_ConfigChannel(&hadc1, &sConfig) != HAL_OK)
  {
    _Error_Handler(__FILE__, __LINE__);
  }

    /**Configure Regular Channel
    */
  sConfig.Channel = ADC_CHANNEL_13;
  sConfig.Rank = 4;
  if (HAL_ADC_ConfigChannel(&hadc1, &sConfig) != HAL_OK)
  {
    _Error_Handler(__FILE__, __LINE__);
  }

    /**Configure Regular Channel
    */
  sConfig.Channel = ADC_CHANNEL_0;
  sConfig.Rank = 5;
  if (HAL_ADC_ConfigChannel(&hadc1, &sConfig) != HAL_OK)
  {
    _Error_Handler(__FILE__, __LINE__);
  }

    /**Configure Regular Channel
    */
  sConfig.Channel = ADC_CHANNEL_1;
  sConfig.Rank = 6;
  if (HAL_ADC_ConfigChannel(&hadc1, &sConfig) != HAL_OK)
  {
    _Error_Handler(__FILE__, __LINE__);
  }

    /**Configure Regular Channel
    */
  sConfig.Channel = ADC_CHANNEL_14;
  sConfig.Rank = 7;
  if (HAL_ADC_ConfigChannel(&hadc1, &sConfig) != HAL_OK)
  {
    _Error_Handler(__FILE__, __LINE__);
  }

    /**Configure Regular Channel
    */
  sConfig.Channel = ADC_CHANNEL_15;
  sConfig.Rank = 8;
  if (HAL_ADC_ConfigChannel(&hadc1, &sConfig) != HAL_OK)
  {
    _Error_Handler(__FILE__, __LINE__);
  }

}

/* TIM2 init function */
static void MX_TIM2_Init(void)
{

  TIM_MasterConfigTypeDef sMasterConfig;
  TIM_IC_InitTypeDef sConfigIC;

  htim2.Instance = TIM2;
  htim2.Init.Prescaler = 0;
  htim2.Init.CounterMode = TIM_COUNTERMODE_UP;
  htim2.Init.Period = 65535;
  htim2.Init.ClockDivision = TIM_CLOCKDIVISION_DIV1;
  htim2.Init.AutoReloadPreload = TIM_AUTORELOAD_PRELOAD_DISABLE;
  if (HAL_TIM_IC_Init(&htim2) != HAL_OK)
  {
    _Error_Handler(__FILE__, __LINE__);
  }

  sMasterConfig.MasterOutputTrigger = TIM_TRGO_RESET;
  sMasterConfig.MasterSlaveMode = TIM_MASTERSLAVEMODE_DISABLE;
  if (HAL_TIMEx_MasterConfigSynchronization(&htim2, &sMasterConfig) != HAL_OK)
  {
    _Error_Handler(__FILE__, __LINE__);
  }

  sConfigIC.ICPolarity = TIM_INPUTCHANNELPOLARITY_RISING;
  sConfigIC.ICSelection = TIM_ICSELECTION_DIRECTTI;
  sConfigIC.ICPrescaler = TIM_ICPSC_DIV1;
  sConfigIC.ICFilter = 0;
  if (HAL_TIM_IC_ConfigChannel(&htim2, &sConfigIC, TIM_CHANNEL_3) != HAL_OK)
  {
    _Error_Handler(__FILE__, __LINE__);
  }

  if (HAL_TIM_IC_ConfigChannel(&htim2, &sConfigIC, TIM_CHANNEL_4) != HAL_OK)
  {
    _Error_Handler(__FILE__, __LINE__);
  }

}

/* TIM3 init function */
static void MX_TIM3_Init(void)
{

  TIM_MasterConfigTypeDef sMasterConfig;
  TIM_IC_InitTypeDef sConfigIC;

  htim3.Instance = TIM3;
  htim3.Init.Prescaler = 0;
  htim3.Init.CounterMode = TIM_COUNTERMODE_UP;
  htim3.Init.Period = 65535;
  htim3.Init.ClockDivision = TIM_CLOCKDIVISION_DIV1;
  htim3.Init.AutoReloadPreload = TIM_AUTORELOAD_PRELOAD_DISABLE;
  if (HAL_TIM_IC_Init(&htim3) != HAL_OK)
  {
    _Error_Handler(__FILE__, __LINE__);
  }

  sMasterConfig.MasterOutputTrigger = TIM_TRGO_RESET;
  sMasterConfig.MasterSlaveMode = TIM_MASTERSLAVEMODE_DISABLE;
  if (HAL_TIMEx_MasterConfigSynchronization(&htim3, &sMasterConfig) != HAL_OK)
  {
    _Error_Handler(__FILE__, __LINE__);
  }

  sConfigIC.ICPolarity = TIM_INPUTCHANNELPOLARITY_RISING;
  sConfigIC.ICSelection = TIM_ICSELECTION_DIRECTTI;
  sConfigIC.ICPrescaler = TIM_ICPSC_DIV1;
  sConfigIC.ICFilter = 0;
  if (HAL_TIM_IC_ConfigChannel(&htim3, &sConfigIC, TIM_CHANNEL_1) != HAL_OK)
  {
    _Error_Handler(__FILE__, __LINE__);
  }

  if (HAL_TIM_IC_ConfigChannel(&htim3, &sConfigIC, TIM_CHANNEL_3) != HAL_OK)
  {
    _Error_Handler(__FILE__, __LINE__);
  }

  if (HAL_TIM_IC_ConfigChannel(&htim3, &sConfigIC, TIM_CHANNEL_4) != HAL_OK)
  {
    _Error_Handler(__FILE__, __LINE__);
  }

}

/* TIM4 init function */
static void MX_TIM4_Init(void)
{

  TIM_MasterConfigTypeDef sMasterConfig;
  TIM_IC_InitTypeDef sConfigIC;

  htim4.Instance = TIM4;
  htim4.Init.Prescaler = 0;
  htim4.Init.CounterMode = TIM_COUNTERMODE_UP;
  htim4.Init.Period = 65535;
  htim4.Init.ClockDivision = TIM_CLOCKDIVISION_DIV1;
  htim4.Init.AutoReloadPreload = TIM_AUTORELOAD_PRELOAD_DISABLE;
  if (HAL_TIM_IC_Init(&htim4) != HAL_OK)
  {
    _Error_Handler(__FILE__, __LINE__);
  }

  sMasterConfig.MasterOutputTrigger = TIM_TRGO_RESET;
  sMasterConfig.MasterSlaveMode = TIM_MASTERSLAVEMODE_DISABLE;
  if (HAL_TIMEx_MasterConfigSynchronization(&htim4, &sMasterConfig) != HAL_OK)
  {
    _Error_Handler(__FILE__, __LINE__);
  }

  sConfigIC.ICPolarity = TIM_INPUTCHANNELPOLARITY_RISING;
  sConfigIC.ICSelection = TIM_ICSELECTION_DIRECTTI;
  sConfigIC.ICPrescaler = TIM_ICPSC_DIV1;
  sConfigIC.ICFilter = 0;
  if (HAL_TIM_IC_ConfigChannel(&htim4, &sConfigIC, TIM_CHANNEL_3) != HAL_OK)
  {
    _Error_Handler(__FILE__, __LINE__);
  }

}

/* TIM8 init function */
static void MX_TIM8_Init(void)
{

  TIM_MasterConfigTypeDef sMasterConfig;
  TIM_IC_InitTypeDef sConfigIC;

  htim8.Instance = TIM8;
  htim8.Init.Prescaler = 0;
  htim8.Init.CounterMode = TIM_COUNTERMODE_UP;
  htim8.Init.Period = 65535;
  htim8.Init.ClockDivision = TIM_CLOCKDIVISION_DIV1;
  htim8.Init.RepetitionCounter = 0;
  htim8.Init.AutoReloadPreload = TIM_AUTORELOAD_PRELOAD_DISABLE;
  if (HAL_TIM_IC_Init(&htim8) != HAL_OK)
  {
    _Error_Handler(__FILE__, __LINE__);
  }

  sMasterConfig.MasterOutputTrigger = TIM_TRGO_RESET;
  sMasterConfig.MasterSlaveMode = TIM_MASTERSLAVEMODE_DISABLE;
  if (HAL_TIMEx_MasterConfigSynchronization(&htim8, &sMasterConfig) != HAL_OK)
  {
    _Error_Handler(__FILE__, __LINE__);
  }

  sConfigIC.ICPolarity = TIM_INPUTCHANNELPOLARITY_RISING;
  sConfigIC.ICSelection = TIM_ICSELECTION_DIRECTTI;
  sConfigIC.ICPrescaler = TIM_ICPSC_DIV1;
  sConfigIC.ICFilter = 0;
  if (HAL_TIM_IC_ConfigChannel(&htim8, &sConfigIC, TIM_CHANNEL_3) != HAL_OK)
  {
    _Error_Handler(__FILE__, __LINE__);
  }

  if (HAL_TIM_IC_ConfigChannel(&htim8, &sConfigIC, TIM_CHANNEL_4) != HAL_OK)
  {
    _Error_Handler(__FILE__, __LINE__);
  }

}

/* UART4 init function */
static void MX_UART4_Init(void)
{

  huart4.Instance = UART4;
  huart4.Init.BaudRate = 115200;
  huart4.Init.WordLength = UART_WORDLENGTH_8B;
  huart4.Init.StopBits = UART_STOPBITS_1;
  huart4.Init.Parity = UART_PARITY_NONE;
  huart4.Init.Mode = UART_MODE_TX_RX;
  huart4.Init.HwFlowCtl = UART_HWCONTROL_NONE;
  huart4.Init.OverSampling = UART_OVERSAMPLING_16;
  if (HAL_UART_Init(&huart4) != HAL_OK)
  {
    _Error_Handler(__FILE__, __LINE__);
  }

}

/* USART3 init function */
static void MX_USART3_UART_Init(void)
{

  huart3.Instance = USART3;
  huart3.Init.BaudRate = 115200;
  huart3.Init.WordLength = UART_WORDLENGTH_8B;
  huart3.Init.StopBits = UART_STOPBITS_1;
  huart3.Init.Parity = UART_PARITY_NONE;
  huart3.Init.Mode = UART_MODE_TX_RX;
  huart3.Init.HwFlowCtl = UART_HWCONTROL_NONE;
  huart3.Init.OverSampling = UART_OVERSAMPLING_16;
  if (HAL_UART_Init(&huart3) != HAL_OK)
  {
    _Error_Handler(__FILE__, __LINE__);
  }

}

static void MX_DMA_Init(void)
{
  /* DMA controller clock enable */
  __HAL_RCC_DMA2_CLK_ENABLE();
  __HAL_RCC_DMA1_CLK_ENABLE();

  /* DMA interrupt init */
  /* DMA1_Channel1_IRQn interrupt configuration */
  HAL_NVIC_SetPriority(DMA1_Channel1_IRQn, 4, 0);
  HAL_NVIC_EnableIRQ(DMA1_Channel1_IRQn);
  /* DMA1_Channel2_IRQn interrupt configuration */
  HAL_NVIC_SetPriority(DMA1_Channel2_IRQn, 4, 0);
  HAL_NVIC_EnableIRQ(DMA1_Channel2_IRQn);
  /* DMA1_Channel3_IRQn interrupt configuration */
  HAL_NVIC_SetPriority(DMA1_Channel3_IRQn, 4, 0);
  HAL_NVIC_EnableIRQ(DMA1_Channel3_IRQn);
  /* DMA1_Channel5_IRQn interrupt configuration */
  HAL_NVIC_SetPriority(DMA1_Channel5_IRQn, 4, 0);
  HAL_NVIC_EnableIRQ(DMA1_Channel5_IRQn);
  /* DMA1_Channel6_IRQn interrupt configuration */
  HAL_NVIC_SetPriority(DMA1_Channel6_IRQn, 4, 0);
  HAL_NVIC_EnableIRQ(DMA1_Channel6_IRQn);
  /* DMA1_Channel7_IRQn interrupt configuration */
  HAL_NVIC_SetPriority(DMA1_Channel7_IRQn, 4, 0);
  HAL_NVIC_EnableIRQ(DMA1_Channel7_IRQn);
  /* DMA2_Channel1_IRQn interrupt configuration */
  HAL_NVIC_SetPriority(DMA2_Channel1_IRQn, 4, 0);
  HAL_NVIC_EnableIRQ(DMA2_Channel1_IRQn);
  /* DMA2_Channel2_IRQn interrupt configuration */
  HAL_NVIC_SetPriority(DMA2_Channel2_IRQn, 4, 0);
  HAL_NVIC_EnableIRQ(DMA2_Channel2_IRQn);

}

/** Configure pins as
        * Analog
        * Input
        * Output
        * EVENT_OUT
        * EXTI
*/
static void MX_GPIO_Init(void)
{

  GPIO_InitTypeDef GPIO_InitStruct;

  /* GPIO Ports Clock Enable */
  __HAL_RCC_GPIOC_CLK_ENABLE();
  __HAL_RCC_GPIOD_CLK_ENABLE();
  __HAL_RCC_GPIOA_CLK_ENABLE();
  __HAL_RCC_GPIOB_CLK_ENABLE();

  /*Configure GPIO pin Output Level */
  HAL_GPIO_WritePin(GPIOA, GPIO_PIN_4|GPIO_PIN_7|GPIO_PIN_8|GPIO_PIN_11
                          |GPIO_PIN_15, GPIO_PIN_RESET);

  /*Configure GPIO pin Output Level */
  HAL_GPIO_WritePin(GPIOA, GPIO_PIN_5|GPIO_PIN_9|GPIO_PIN_10, GPIO_PIN_SET);

  /*Configure GPIO pin Output Level */
  HAL_GPIO_WritePin(GPIOB, GPIO_PIN_2, GPIO_PIN_SET);

  /*Configure GPIO pin Output Level */
  HAL_GPIO_WritePin(GPIOB, GPIO_PIN_14|GPIO_PIN_15|GPIO_PIN_6, GPIO_PIN_RESET);

  /*Configure GPIO pin Output Level */
  HAL_GPIO_WritePin(GPIOC, GPIO_PIN_6|GPIO_PIN_7, GPIO_PIN_RESET);

  /*Configure GPIO pin Output Level */
  HAL_GPIO_WritePin(GPIOD, GPIO_PIN_2, GPIO_PIN_RESET);

  /*Configure GPIO pins : PC13 PC12 */
  GPIO_InitStruct.Pin = GPIO_PIN_13|GPIO_PIN_12;
  GPIO_InitStruct.Mode = GPIO_MODE_INPUT;
  GPIO_InitStruct.Pull = GPIO_NOPULL;
  HAL_GPIO_Init(GPIOC, &GPIO_InitStruct);

  /*Configure GPIO pins : PA4 PA5 PA7 PA8
                           PA9 PA10 PA11 PA15 */
  GPIO_InitStruct.Pin = GPIO_PIN_4|GPIO_PIN_5|GPIO_PIN_7|GPIO_PIN_8
                          |GPIO_PIN_9|GPIO_PIN_10|GPIO_PIN_11|GPIO_PIN_15;
  GPIO_InitStruct.Mode = GPIO_MODE_OUTPUT_PP;
  GPIO_InitStruct.Speed = GPIO_SPEED_FREQ_LOW;
  HAL_GPIO_Init(GPIOA, &GPIO_InitStruct);

  /*Configure GPIO pins : PB2 PB14 PB15 PB6 */
  GPIO_InitStruct.Pin = GPIO_PIN_2|GPIO_PIN_14|GPIO_PIN_15|GPIO_PIN_6;
  GPIO_InitStruct.Mode = GPIO_MODE_OUTPUT_PP;
  GPIO_InitStruct.Speed = GPIO_SPEED_FREQ_LOW;
  HAL_GPIO_Init(GPIOB, &GPIO_InitStruct);

  /*Configure GPIO pins : PB12 PB13 PB4 PB5
                           PB7 PB9 */
  GPIO_InitStruct.Pin = GPIO_PIN_12|GPIO_PIN_13|GPIO_PIN_4|GPIO_PIN_5
                          |GPIO_PIN_7|GPIO_PIN_9;
  GPIO_InitStruct.Mode = GPIO_MODE_INPUT;
  GPIO_InitStruct.Pull = GPIO_NOPULL;
  HAL_GPIO_Init(GPIOB, &GPIO_InitStruct);

  /*Configure GPIO pins : PC6 PC7 */
  GPIO_InitStruct.Pin = GPIO_PIN_6|GPIO_PIN_7;
  GPIO_InitStruct.Mode = GPIO_MODE_OUTPUT_PP;
  GPIO_InitStruct.Speed = GPIO_SPEED_FREQ_LOW;
  HAL_GPIO_Init(GPIOC, &GPIO_InitStruct);

  /*Configure GPIO pin : PA12 */
  GPIO_InitStruct.Pin = GPIO_PIN_12;
  GPIO_InitStruct.Mode = GPIO_MODE_INPUT;
  GPIO_InitStruct.Pull = GPIO_NOPULL;
  HAL_GPIO_Init(GPIOA, &GPIO_InitStruct);

  /*Configure GPIO pin : PD2 */
  GPIO_InitStruct.Pin = GPIO_PIN_2;
  GPIO_InitStruct.Mode = GPIO_MODE_OUTPUT_PP;
  GPIO_InitStruct.Speed = GPIO_SPEED_FREQ_LOW;
  HAL_GPIO_Init(GPIOD, &GPIO_InitStruct);

}

/* USER CODE BEGIN 4 */
void HAL_UART_RxCpltCallback(UART_HandleTypeDef *huart)
{
	BaseType_t xHigherPriorityTaskWoken = pdFALSE;
	if(huart == &huart3)
	{
		xSemaphoreGiveFromISR(BinarySem_zlgHandle, &xHigherPriorityTaskWoken);
		portYIELD_FROM_ISR(xHigherPriorityTaskWoken);
	}
	else if(huart == &huart4)
	{
		xSemaphoreGiveFromISR(BinarySem_485Handle, &xHigherPriorityTaskWoken);
		portYIELD_FROM_ISR(xHigherPriorityTaskWoken);
	}
}

/* USER CODE END 4 */

/* FUNC_BAT function */
void FUNC_BAT(void const * argument)
{

  /* USER CODE BEGIN 5 */
	BaseType_t pdsem = pdFALSE;
  /* Infinite loop */
  for(;;)
  {
		pdsem = xSemaphoreTake(BinarySem_batHandle,portMAX_DELAY);
		if(pdsem == pdTRUE)
		{
			cw_bat_work();
		}
  }
  /* USER CODE END 5 */
}

/* FUNC_ZLG function */
void FUNC_ZLG(void const * argument)
{
  /* USER CODE BEGIN FUNC_ZLG */
	BaseType_t pdsem = pdFALSE;
	char mode;
	uint8_t dev_type;
	uint8_t channel_read;
	uint8_t addr1_read, addr2_read;
	uint8_t dest1_read, dest2_read;
	uint8_t dev_info1, dev_info2;

	HAL_UART_Receive_IT(&huart3,ack_cfg_get.recv_buf,sizeof(ack_cfg_get.recv_buf));
	HAL_UART_Transmit(&huart3,cmd_cfg_get,sizeof(cmd_cfg_get),1000);
  /* Infinite loop */
  for(;;)
  {
		pdsem = xSemaphoreTake(BinarySem_zlgHandle,portMAX_DELAY);
    if(pdsem == pdTRUE)
		{
			switch(ZLGSTATE)
			{
				case GET_INFO:
				{
					//show_485(ack_cfg_get.recv_buf,sizeof(ack_cfg_get.recv_buf));

					dev_type = ack_cfg_get.recv_analy.dev_info[32];
					channel_read = ack_cfg_get.recv_analy.dev_info[33];
					addr1_read = ack_cfg_get.recv_analy.dev_info[36];
					addr2_read = ack_cfg_get.recv_analy.dev_info[37];
					dest1_read = ack_cfg_get.recv_analy.dev_info[46];
					dest2_read = ack_cfg_get.recv_analy.dev_info[47];
					dev_info1 = ack_cfg_get.recv_analy.status[1];
					dev_info2 = ack_cfg_get.recv_analy.status[2];
					if(channel_read != channel || addr1_read != board_num1 || addr2_read != board_num2 || dest1_read != addr1_coord || dest2_read != addr2_coord ||dev_type != 0)
					{
						cmd_cfg_set.send_set.local_addr[0] = addr1_read;
						cmd_cfg_set.send_set.local_addr[1] = addr2_read;
						memcpy(cmd_cfg_set.send_set.dev_info, ack_cfg_get.recv_analy.dev_info, 65);
						cmd_cfg_set.send_set.dev_info[32] = 0;  //work as enddevice
						cmd_cfg_set.send_set.dev_info[33] = channel;  //use channel 11
						cmd_cfg_set.send_set.dev_info[36] = board_num1;  //local address high 8
						cmd_cfg_set.send_set.dev_info[37] = board_num2;  //local address low 8
						cmd_cfg_set.send_set.dev_info[46] = addr1_coord;  //remote address high 8
						cmd_cfg_set.send_set.dev_info[47] = addr2_coord;  //remote address low 8
						cmd_cfg_set.send_set.veri = calc_checksum(cmd_cfg_set.send_buf, sizeof(cmd_cfg_set.send_buf) - 1);
						HAL_UART_Receive_IT(&huart3,ack_cfg_set,sizeof(ack_cfg_set));
						HAL_UART_Transmit(&huart3,cmd_cfg_set.send_buf,sizeof(cmd_cfg_set.send_buf),1000);
						ZLGSTATE = SET_INFO;
					}
					else
					{
						HAL_UART_Receive_IT(&huart3,order_buf,sizeof(order_buf));
						ZLGSTATE = WAITFORCMD;
					}
					break;
				}
				case SET_INFO:
				{
					//show_485(ack_cfg_set,sizeof(ack_cfg_set));

					if(ack_cfg_set[sizeof(ack_cfg_set)-1] == 0x00)
					{
						cmd_reset[4] = addr1_read;
						cmd_reset[5] = addr2_read;
						cmd_reset[6] = dev_info1;
						cmd_reset[7] = dev_info2;
						cmd_reset[8] = calc_checksum(cmd_reset, sizeof(cmd_reset) - 1);
						HAL_UART_Transmit(&huart3,cmd_reset,sizeof(cmd_reset),1000);

						//show_485(cmd_reset,sizeof(cmd_reset));

						osDelay(500);
						HAL_UART_Receive_IT(&huart3,order_buf,sizeof(order_buf));
						ZLGSTATE = WAITFORCMD;
					}
					break;
				}
				case WAITFORCMD:
				{
					if(order_buf[11] == board_num1 && order_buf[12] == board_num2)
					{
						/*if(order_buf[18] != 0xff)
						{
							capture_interval = order_buf[18];
							capture_interval = capture_interval * 1000 / TIMER_INTERVAL;
							reply_buf[32] = 0;
							reply_buf[33] = 0;
							reply_buf[34] = 0x55;
						}*/
						if(order_buf[16] == 0xff)
					  {
							mode = 'R';
							reply_buf[42] = 0xff;
						  reply_buf[43] = 0;
							reply_buf[44] = 0xff;
						}
						else if(order_buf[26] == 0)
						{
							mode = 'Z';
							reply_buf[42] = 0x55;
							reply_buf[43] = 0;
							reply_buf[44] = 0;
						}
						HAL_UART_Transmit(&huart3,reply_buf,sizeof(reply_buf),1000);
				    if(mode == 'R')
						{
							Device_State = DEVICE_RUN;
							write_flash('R');
						}
						else if(mode == 'Z')
						{
					    Device_State = DEVICE_SLEEP;
							write_flash('Z');
						}
					}
					HAL_UART_Receive_IT(&huart3,order_buf,sizeof(order_buf));
					break;
				}
				default:
				{
					break;
				}
			}

		}
  }
  /* USER CODE END FUNC_ZLG */
}

/* FUNC_CAPTURE function */
void FUNC_CAPTURE(void const * argument)
{
  /* USER CODE BEGIN FUNC_CAPTURE */
	BaseType_t pdsem = pdFALSE;
	int i, channel;
	uint16_t interval[50] = {0};
	float Frequency = 0;
  float Temperature = 0;
	float temp_log;
	float sum = 0;
  /* Infinite loop */
  for(;;)
  {
		pdsem = xSemaphoreTake(BinarySem_captureHandle,portMAX_DELAY);
		if(pdsem == pdTRUE)
		{
			//HAL_GPIO_WritePin(GPIO_SWITCH, GPIO_PIN_SWITCH, GPIO_PIN_SET);
			//HAL_Delay(20);

			xSemaphoreGive(BinarySem_stimulateHandle);

			//HAL_GPIO_WritePin(GPIO_SWITCH, GPIO_PIN_SWITCH, GPIO_PIN_RESET);

			for(channel = 0; channel < 8; channel ++)
			{
				sum = 0;
				for(i = 1;i < dma_size - 1;i ++)
				{
					if (input_capture[channel][i + 1] >= input_capture[channel][i])
					{
						interval[i] = input_capture[channel][i + 1] - input_capture[channel][i];
					}
					else
					{
						interval[i]= (0xFFFF - input_capture[channel][i]) + input_capture[channel][i + 1];
					}
					sum += interval[i];
				}
				avrg_freq[channel] = sum /(float)(dma_size - 2);
			}

			get_temperature();

			for(i = 0;i < 8; i ++)
			{
				Frequency=320000000.0f/avrg_freq[i] + 0.5f;
				Temperature = adcbuf[i];
				temp_log = log(Temperature * 4.5185f);
				Temperature = (1.0f / (A + B * temp_log + C * temp_log * temp_log * temp_log) - 273.2f) * 100.0f;
				write_to_data_buf(i,(uint16_t)(Frequency),(uint16_t)(Temperature));
			}

			data_buf[43] = cw_bat.voltage;
			data_buf[44] = cw_bat.capacity;

			HAL_UART_Transmit(&huart3,data_buf,sizeof(data_buf),1000);
			show_485(data_buf, sizeof(data_buf));
		}
  }
  /* USER CODE END FUNC_CAPTURE */
}

/* FUNC_485 function */
void FUNC_485(void const * argument)
{
  /* USER CODE BEGIN FUNC_485 */
	BaseType_t pdsem = pdFALSE;
	HAL_UART_Receive_IT(&huart4,rxbuf_485,len_485);
  /* Infinite loop */
  for(;;)
  {
		pdsem = xSemaphoreTake(BinarySem_485Handle,portMAX_DELAY);
		if(pdsem == pdTRUE)
		{
			//xSemaphoreGive(BinarySem_captureHandle);
			/*HAL_GPIO_WritePin(GPIOD, GPIO_PIN_2, GPIO_PIN_SET); // 485 SEND ENABLE

			read_ID();
			HAL_UART_Transmit(&huart4,&board_num1,1,1000);
			HAL_UART_Transmit(&huart4,&board_num2,1,1000);*/

			HAL_GPIO_WritePin(GPIOD, GPIO_PIN_2, GPIO_PIN_RESET); // 485 RECV ENABLE
			HAL_UART_Receive_IT(&huart4,rxbuf_485,len_485);
		}
  }
  /* USER CODE END FUNC_485 */
}

/* FUNC_STIMULATE function */
void FUNC_STIMULATE(void const * argument)
{
  /* USER CODE BEGIN FUNC_STIMULATE */
	BaseType_t pdsem = pdFALSE;
	int i, j;
  /* Infinite loop */
  for(;;)
  {
		pdsem = xSemaphoreTake(BinarySem_stimulateHandle,portMAX_DELAY);
		if(pdsem == pdTRUE)
    {
			for(i = 0;i < 2;i ++)
		  {
			  MEASUREMENT(i);
			  for(j = 0;j < 4;j ++)
			  {
					HAL_TIM_IC_Start_DMA(htim[i * 4 + j], TIM_CHANNEL[i * 4 + j], (uint32_t *)input_capture[i * 4 + j], dma_size);
					HAL_Delay(40);
					HAL_TIM_IC_Stop_DMA(htim[i * 4 + j], TIM_CHANNEL[i * 4 + j]);
			  }
		  }
		}
  }
  /* USER CODE END FUNC_STIMULATE */
}

/* Callback_timercapture function */
void Callback_timercapture(void const * argument)
{
  /* USER CODE BEGIN Callback_timercapture */
	bat_count ++;
	capture_count ++;
	set_led();
	if(bat_count == bat_interval)
	{
		bat_count = 0;
		xSemaphoreGive(BinarySem_batHandle);
	}
	if(capture_count == capture_interval)
	{
		capture_count = 0;
		if(Device_State == DEVICE_RUN)
			xSemaphoreGive(BinarySem_captureHandle);
	}
  /* USER CODE END Callback_timercapture */
}

void HAL_TIM_PeriodElapsedCallback(TIM_HandleTypeDef *htim)
{
  if (htim->Instance == TIM5) {
    HAL_IncTick();
  }
}

void _Error_Handler(char * file, int line)
{
  while(1)
  {
  }
}

/************************ (C) COPYRIGHT STMicroelectronics *****END OF FILE****/
